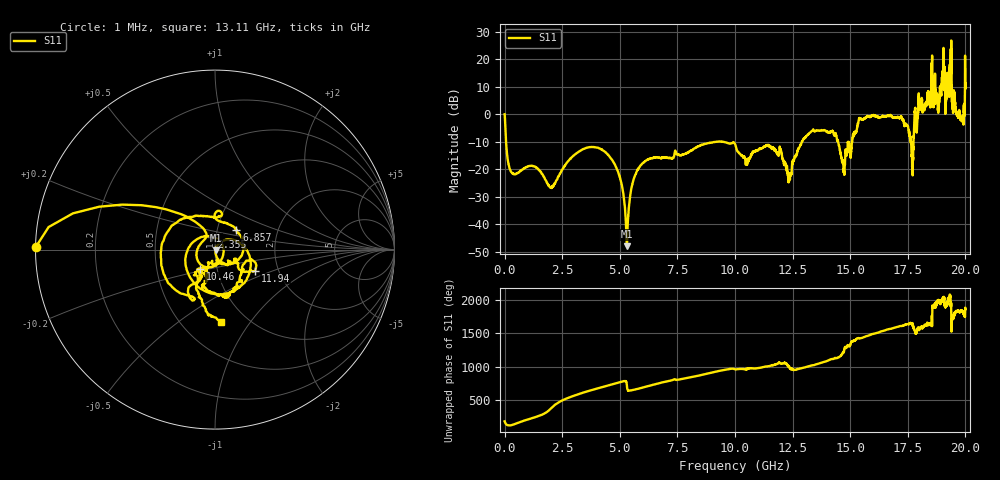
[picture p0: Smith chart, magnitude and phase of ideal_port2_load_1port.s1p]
! Created with skrf 1.8.0 (http://scikit-rf.org).
# GHz S RI R 50.0
!freq ReS11 ImS11
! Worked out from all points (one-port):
!   10001 points, 1 MHz to 20 GHz, reference 50 ohm
!   lowest |S11| = -48.0 dB at 5.313 GHz (marker M1), VSWR 1.01, Z = 50.4 - j0.156 ohm
!   |S11| at or under -10 dB: 63.4 MHz to 9.182 GHz (9.118 GHz wide, 197 % of centre); 9.437 GHz to 12.9 GHz (3.468 GHz wide, 31 % of centre); 14.47 GHz to 15.07 GHz (598.9 MHz wide, 4.05 % of centre) (the widest 3 of 11)
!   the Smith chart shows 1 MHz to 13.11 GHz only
!   S11 on the Smith chart (normalised r, x): 1 MHz: 0.00, +0.01; 2.355 GHz: 0.95, +0.14; 6.857 GHz: 1.23, +0.28; 10.46 GHz: 0.83, -0.18; 11.94 GHz: 1.52, -0.38; 13.11 GHz: 0.76, -0.74
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0.001  -0.9976 0.0158
2.354882  -0.0195 0.0722
2.500875  -0.0652 0.072
5.00075  0.0496 0.0515
5.312734  0.00367 -0.00155
6.856657  0.1188 0.1101
7.500625  0.0242 0.1845
10.0005  -0.1468 -0.2479
10.45848  -0.083 -0.1095
11.9444  0.2247 -0.1166
12.50038  -0.0761 -0.1188
13.11034  0.0334 -0.404
15.00025  -0.0984 -0.1667
15.69222  0.8517 0.2093
16.43018  -0.0426 0.9115
17.50013  -0.5849 -0.1523
17.80811  0.0131 1.131
18.0501  -1.174 1.087
18.46208  -1.825 -0.0419
18.66407  -2.432 2.125
18.99605  -3.176 -2.383
19.19004  -0.7041 2.132
19.25804  -3.166 -0.8241
19.30004  -3.631 -1.52
19.40003  -0.9922 -4.763
19.52802  2.093 -0.7159
19.88601  0.781 0.4398
20  1.887 3.096
